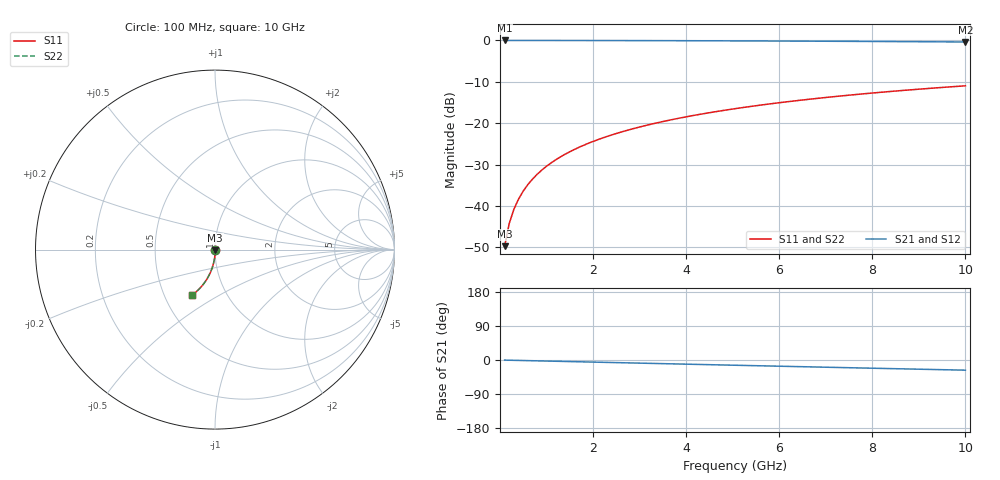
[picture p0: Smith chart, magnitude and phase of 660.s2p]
# Hz S RI R 50.00
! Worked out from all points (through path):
!   100 points, 100 MHz to 10 GHz, reference 50 ohm
!   highest |S21| = -0.01 dB at 100 MHz (marker M1); lowest = -0.4 dB at 10 GHz (marker M2)
!   group delay of S21, straight-line fit = 7.47 ps
!   lowest |S11| = -49.7 dB at 100 MHz (marker M3), VSWR 1.01, Z = 50.1 - j0.303 ohm
!   |S11| at or under -10 dB: start of sweep to end of sweep
!   |S22| runs from -49.7 to -11.0 dB; largest |S21 - S12| = 0
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1e8  0.00124 -0.00302  0.9987 -0.0048  0.9987 -0.0048  0.00124 -0.00302
2e8  0.0012 -0.00604  0.9987 -0.00961  0.9987 -0.00961  0.0012 -0.00604
3e8  0.00113 -0.00906  0.9986 -0.0144  0.9986 -0.0144  0.00113 -0.00906
4e8  0.00103 -0.0121  0.9984 -0.0192  0.9984 -0.0192  0.00103 -0.0121
5e8  0.000903 -0.0151  0.9983 -0.024  0.9983 -0.024  0.000903 -0.0151
6e8  0.000744 -0.0181  0.9981 -0.0288  0.9981 -0.0288  0.000744 -0.0181
7e8  0.000555 -0.0211  0.9979 -0.0336  0.9979 -0.0336  0.000555 -0.0211
8e8  0.000337 -0.0241  0.9976 -0.0384  0.9976 -0.0384  0.000337 -0.0241
9e8  9.05e-05 -0.0271  0.9974 -0.0432  0.9974 -0.0432  9.05e-05 -0.0271
1.1e9  -0.00049 -0.0331  0.9967 -0.0528  0.9967 -0.0528  -0.00049 -0.0331
1.4e9  -0.00158 -0.0421  0.9955 -0.0671  0.9955 -0.0671  -0.00158 -0.0421
1.8e9  -0.00343 -0.054  0.9934 -0.0862  0.9934 -0.0862  -0.00343 -0.054
2.1e9  -0.00511 -0.0629  0.9915 -0.1004  0.9915 -0.1004  -0.00511 -0.0629
2.5e9  -0.00775 -0.0746  0.9886 -0.1193  0.9886 -0.1193  -0.00775 -0.0746
2.9e9  -0.0108 -0.0862  0.9851 -0.138  0.9851 -0.138  -0.0108 -0.0862
3.4e9  -0.0153 -0.1005  0.9801 -0.1612  0.9801 -0.1612  -0.0153 -0.1005
4.2e9  -0.0238 -0.1228  0.9706 -0.1978  0.9706 -0.1978  -0.0238 -0.1228
5.1e9  -0.0353 -0.1469  0.9578 -0.238  0.9578 -0.238  -0.0353 -0.1469
5.9e9  -0.0471 -0.1673  0.9445 -0.2728  0.9445 -0.2728  -0.0471 -0.1673
6.7e9  -0.0603 -0.1866  0.9297 -0.3064  0.9297 -0.3064  -0.0603 -0.1866
8.4e9  -0.0923 -0.2235  0.8934 -0.3739  0.8934 -0.3739  -0.0923 -0.2235
1e10  -0.1266 -0.2528  0.8542 -0.4321  0.8542 -0.4321  -0.1266 -0.2528
